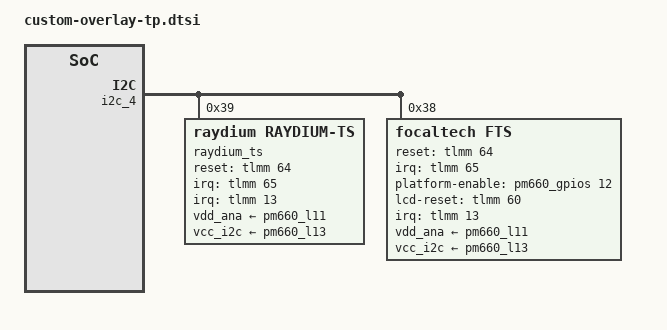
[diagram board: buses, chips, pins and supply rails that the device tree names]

&i2c_4 {
	status = "ok";

	raydium_ts@39 {
		compatible = "raydium,raydium-ts";
		reg = <0x39>;
		interrupt-parent = <&tlmm>;
		interrupts = <13 0x2008>;
		vdd_ana-supply = <&pm660_l11>;
		vcc_i2c-supply = <&pm660_l13>;
		pinctrl-names = "pmx_ts_active","pmx_ts_suspend",
					"pmx_ts_release";
		pinctrl-0 = <&ts_int_active &ts_reset_active>;
		pinctrl-1 = <&ts_int_suspend &ts_reset_suspend>;
		pinctrl-2 = <&ts_release>;
		raydium,reset-gpio = <&tlmm 64 0x00>;
		raydium,irq-gpio = <&tlmm 65 0x00>;
		raydium,num-max-touches = <2>;
		raydium,soft-reset-delay-ms = <50>;
		raydium,hard-reset-delay-ms = <100>;
		raydium,x_max = <416>;
		raydium,y_max = <416>;
		raydium,display-coords= <0  0 416 416>;
	};

	/* jianghan @ 20200820 To customize TP's dts and TP's drivers.  Begin*/

		focaltech@38{
		compatible = "focaltech,fts";
		reg = <0x38>;
		interrupt-parent = <&tlmm>;
		interrupts = <13 0x02>;
		vdd_ana-supply = <&pm660_l11>;
		vcc_i2c-supply = <&pm660_l13>;
		focaltech,reset-gpio = <&tlmm 64 0x00>;
		focaltech,irq-gpio = <&tlmm 65 0x00>;
		/* start jianghan@202001219 add for VCI */
		focaltech,platform-enable-gpio = <&pm660_gpios 12 0>;
		focaltech,lcd-reset-gpio = <&tlmm 60 0>;
		/* end jianghan@202001219 add for VCI */
		focaltech,max-touch-number = <2>;
		focaltech,display-coords= <0  0 416 416>;
		focaltech,x_max = <416>;
		focaltech,y_max = <416>;
		pinctrl-names = "pmx_ts_active","pmx_ts_suspend",
					"pmx_ts_release";
		pinctrl-0 = <&ts_int_active &ts_reset_active>;
		pinctrl-1 = <&ts_int_suspend &ts_reset_suspend>;
		pinctrl-2 = <&ts_release>;
		focaltech,soft-reset-delay-ms = <50>;
		focaltech,hard-reset-delay-ms = <100>;
		// focaltech,key-number = <2>;
		// focaltech,keys = <>;
		// focaltech,key-x-coords = <>;
		// focaltech,key-y-coords = <>;

	/* End */

	};
};

